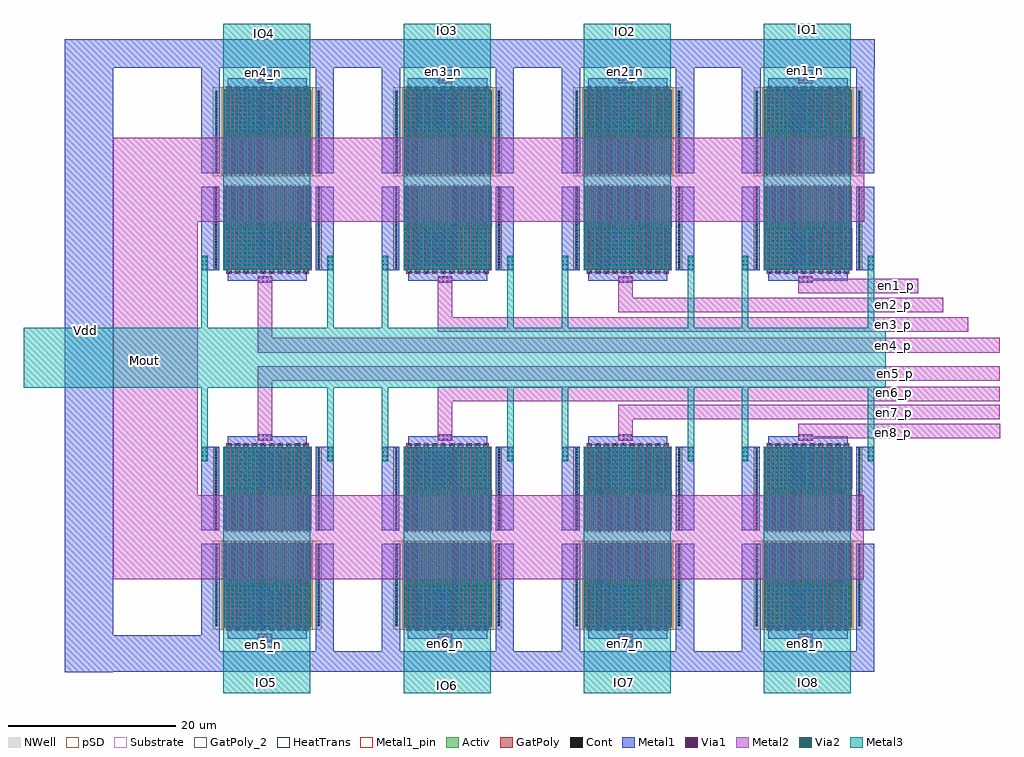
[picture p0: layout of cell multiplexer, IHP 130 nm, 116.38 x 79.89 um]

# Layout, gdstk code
import gdstk
lib = gdstk.Library(unit=1e-6, precision=1e-09)
def R(c, l, rs):  # rectangles x0, y0, x1, y1
    for r in rs: c.add(gdstk.rectangle(r[:2], r[2:], *l))
def A(c, l, x, y, w, h, nx, ny, dx, dy):  # array of equal rectangles
    R(c, l, [(x+i*dx, y+j*dy, x+i*dx+w, y+j*dy+h) for i in range(nx) for j in range(ny)])
Activ = (1, 0)
GatPoly = (5, 0)
GatPoly_2 = (5, 2)
Cont = (6, 0)
Metal1 = (8, 0)
Metal1_pin = (8, 2)
Metal2 = (10, 0)
pSD = (14, 0)
Via1 = (19, 0)
Via2 = (29, 0)
Metal3 = (30, 0)
NWell = (31, 0)
Substrate = (40, 0)
HeatTrans = (51, 0)

nmos = lib.new_cell('nmos')
A(nmos, Activ, 0, 0, 0.3, 0.3, 21, 1, 0.51, 0)
R(nmos, Activ, [(0,0,10.5,10)])
A(nmos, GatPoly, 0.34, -0.18, 0.13, 10.36, 20, 1, 0.51, 0)
R(nmos, GatPoly_2, [(0.34,-0.18,0.47,10.18)])
A(nmos, Cont, 0.07, 0.07, 0.16, 0.16, 21, 4, 0.51, 0.345)
A(nmos, Cont, 0.07, 1.455, 0.16, 0.16, 21, 3, 0.51, 0.345)
A(nmos, Cont, 0.07, 2.495, 0.16, 0.16, 21, 4, 0.51, 0.345)
A(nmos, Cont, 0.07, 3.88, 0.16, 0.16, 21, 3, 0.51, 0.345)
A(nmos, Cont, 0.07, 4.92, 0.16, 0.16, 21, 4, 0.51, 0.345)
A(nmos, Cont, 0.07, 6.305, 0.16, 0.16, 21, 3, 0.51, 0.345)
A(nmos, Cont, 0.07, 7.345, 0.16, 0.16, 21, 4, 0.51, 0.345)
A(nmos, Cont, 0.07, 8.73, 0.16, 0.16, 21, 3, 0.51, 0.345)
A(nmos, Cont, 0.07, 9.77, 0.16, 0.16, 21, 1, 0.51, 0)
A(nmos, Metal1, 0.07, 0, 0.16, 10, 21, 1, 0.51, 0)
R(nmos, Metal1_pin, [(0.07,0,0.23,10), (0.58,0,0.74,10)])
A(nmos, HeatTrans, 0.34, -0.18, 0.13, 10.36, 20, 1, 0.51, 0)
nmos.add(gdstk.Label('nmos', (0.405,5), layer=63, texttype=0))
nmos.add(gdstk.Label('nmos', (0.405,5), layer=51, texttype=0))
nmos.add(gdstk.Label('nmos', (0.915,5), layer=51, texttype=0))
nmos.add(gdstk.Label('nmos', (1.425,5), layer=51, texttype=0))
nmos.add(gdstk.Label('nmos', (1.935,5), layer=51, texttype=0))
nmos.add(gdstk.Label('nmos', (2.445,5), layer=51, texttype=0))
nmos.add(gdstk.Label('nmos', (2.955,5), layer=51, texttype=0))
nmos.add(gdstk.Label('nmos', (3.465,5), layer=51, texttype=0))
nmos.add(gdstk.Label('nmos', (3.975,5), layer=51, texttype=0))
nmos.add(gdstk.Label('nmos', (4.485,5), layer=51, texttype=0))
nmos.add(gdstk.Label('nmos', (4.995,5), layer=51, texttype=0))
nmos.add(gdstk.Label('nmos', (5.505,5), layer=51, texttype=0))
nmos.add(gdstk.Label('nmos', (6.015,5), layer=51, texttype=0))
nmos.add(gdstk.Label('nmos', (6.525,5), layer=51, texttype=0))
nmos.add(gdstk.Label('nmos', (7.035,5), layer=51, texttype=0))
nmos.add(gdstk.Label('nmos', (7.545,5), layer=51, texttype=0))
nmos.add(gdstk.Label('nmos', (8.055,5), layer=51, texttype=0))
nmos.add(gdstk.Label('nmos', (8.565,5), layer=51, texttype=0))
nmos.add(gdstk.Label('nmos', (9.075,5), layer=51, texttype=0))
nmos.add(gdstk.Label('nmos', (9.585,5), layer=51, texttype=0))
nmos.add(gdstk.Label('nmos', (10.095,5), layer=51, texttype=0))

via_stack_2 = lib.new_cell('via_stack$2')
R(via_stack_2, Metal2, [(-5.185,-2.545,5.185,2.545)])
A(via_stack_2, Via2, -5.135, -2.495, 0.19, 0.19, 22, 11, 0.48, 0.48)
R(via_stack_2, Metal3, [(-5.185,-2.545,5.185,2.545)])

pmos = lib.new_cell('pmos')
A(pmos, Activ, 0, 0, 0.3, 0.3, 21, 1, 0.51, 0)
R(pmos, Activ, [(0,0,10.5,10)])
A(pmos, GatPoly, 0.34, -0.18, 0.13, 10.36, 20, 1, 0.51, 0)
R(pmos, GatPoly, [(0.34,-0.18,0.47,10.18)])
A(pmos, Cont, 0.07, 0.07, 0.16, 0.16, 21, 4, 0.51, 0.345)
A(pmos, Cont, 0.07, 1.455, 0.16, 0.16, 21, 3, 0.51, 0.345)
A(pmos, Cont, 0.07, 2.495, 0.16, 0.16, 21, 4, 0.51, 0.345)
A(pmos, Cont, 0.07, 3.88, 0.16, 0.16, 21, 3, 0.51, 0.345)
A(pmos, Cont, 0.07, 4.92, 0.16, 0.16, 21, 4, 0.51, 0.345)
A(pmos, Cont, 0.07, 6.305, 0.16, 0.16, 21, 3, 0.51, 0.345)
A(pmos, Cont, 0.07, 7.345, 0.16, 0.16, 21, 4, 0.51, 0.345)
A(pmos, Cont, 0.07, 8.73, 0.16, 0.16, 21, 3, 0.51, 0.345)
A(pmos, Cont, 0.07, 9.77, 0.16, 0.16, 21, 1, 0.51, 0)
A(pmos, Metal1, 0.58, 0, 0.16, 10, 20, 1, 0.51, 0)
R(pmos, Metal1, [(0.07,0,0.23,10), (0.07,0,0.23,10), (0.58,0,0.74,10)])
R(pmos, pSD, [(-0.18,-0.3,10.68,10.3)])
R(pmos, NWell, [(-0.31,-0.31,10.81,10.31)])
R(pmos, Substrate, [(10.2,0,10.5,0.3)])
A(pmos, HeatTrans, 0.34, -0.18, 0.13, 10.36, 20, 1, 0.51, 0)
pmos.add(gdstk.Label('pmos', (0.405,5), layer=63, texttype=0))
pmos.add(gdstk.Label('pmos', (0.405,5), layer=51, texttype=0))
pmos.add(gdstk.Label('pmos', (0.915,5), layer=51, texttype=0))
pmos.add(gdstk.Label('pmos', (1.425,5), layer=51, texttype=0))
pmos.add(gdstk.Label('pmos', (1.935,5), layer=51, texttype=0))
pmos.add(gdstk.Label('pmos', (2.445,5), layer=51, texttype=0))
pmos.add(gdstk.Label('pmos', (2.955,5), layer=51, texttype=0))
pmos.add(gdstk.Label('pmos', (3.465,5), layer=51, texttype=0))
pmos.add(gdstk.Label('pmos', (3.975,5), layer=51, texttype=0))
pmos.add(gdstk.Label('pmos', (4.485,5), layer=51, texttype=0))
pmos.add(gdstk.Label('pmos', (4.995,5), layer=51, texttype=0))
pmos.add(gdstk.Label('pmos', (5.505,5), layer=51, texttype=0))
pmos.add(gdstk.Label('pmos', (6.015,5), layer=51, texttype=0))
pmos.add(gdstk.Label('pmos', (6.525,5), layer=51, texttype=0))
pmos.add(gdstk.Label('pmos', (7.035,5), layer=51, texttype=0))
pmos.add(gdstk.Label('pmos', (7.545,5), layer=51, texttype=0))
pmos.add(gdstk.Label('pmos', (8.055,5), layer=51, texttype=0))
pmos.add(gdstk.Label('pmos', (8.565,5), layer=51, texttype=0))
pmos.add(gdstk.Label('pmos', (9.075,5), layer=51, texttype=0))
pmos.add(gdstk.Label('pmos', (9.585,5), layer=51, texttype=0))
pmos.add(gdstk.Label('pmos', (10.095,5), layer=51, texttype=0))

via_stack = lib.new_cell('via_stack')
R(via_stack, Metal1, [(-0.385,-0.865,0.385,0.865)])
R(via_stack, Metal2, [(-0.385,-0.865,0.385,0.865)])
A(via_stack, Via1, -0.335, -0.815, 0.19, 0.19, 1, 4, 0, 0.48)
A(via_stack, Via1, 0.145, -0.815, 0.19, 0.19, 1, 4, 0, 0.48)
A(via_stack, Via2, -0.335, -0.815, 0.19, 0.19, 1, 4, 0, 0.48)
A(via_stack, Via2, 0.145, -0.815, 0.19, 0.19, 1, 4, 0, 0.48)
R(via_stack, Metal3, [(-0.385,-0.865,0.385,0.865)])

via_stack_5 = lib.new_cell('via_stack$5')
R(via_stack_5, Metal1, [(-0.865,-0.385,0.865,0.385)])
R(via_stack_5, Metal2, [(-0.865,-0.385,0.865,0.385)])
A(via_stack_5, Via1, -0.815, -0.335, 0.19, 0.19, 4, 2, 0.48, 0.48)

transmission_gate = lib.new_cell('transmission_gate')
R(transmission_gate, Activ, [(-2.08,-11.63,-1.82,-1.81), (10.13,-11.63,10.39,-1.81), (-2.1,-0.2,-1.84,9.68), (10.14,-0.2,10.4,9.68)])
A(transmission_gate, GatPoly, -0.76, -12.195, 0.64, 0.295, 10, 2, 1.02, 22.115)
A(transmission_gate, Cont, -0.52, -12.13, 0.16, 0.16, 10, 2, 1.02, 22.12)
A(transmission_gate, Cont, -2.03, -11.56, 0.16, 0.16, 1, 9, 0, 0.34)
A(transmission_gate, Cont, 10.18, -11.56, 0.16, 0.16, 1, 9, 0, 0.34)
A(transmission_gate, Cont, -2.03, -8.84, 0.16, 0.16, 1, 21, 0, 0.34)
A(transmission_gate, Cont, 10.18, -8.84, 0.16, 0.16, 1, 21, 0, 0.34)
A(transmission_gate, Cont, -2.05, -0.13, 0.16, 0.16, 1, 4, 0, 0.34)
A(transmission_gate, Cont, 10.19, -0.13, 0.16, 0.16, 1, 4, 0, 0.34)
A(transmission_gate, Cont, -2.05, 0.89, 0.16, 0.16, 1, 26, 0, 0.34)
A(transmission_gate, Cont, 10.19, 0.89, 0.16, 0.16, 1, 26, 0, 0.34)
A(transmission_gate, Metal1, -0.57, -12.285, 0.26, 0.345, 10, 2, 1.02, 22.245)
A(transmission_gate, Metal1, -0.545, -11.41, 0.21, 4.135, 10, 2, 1.02, 16.4)
A(transmission_gate, Metal1, -1.055, -5.83, 0.21, 4.135, 11, 2, 1.02, 5.57)
R(transmission_gate, Metal1, [(-3.715,-15.08,-1.505,-1.82), (9.89,-14.69,12.06,-1.82), (-0.575,-13.115,8.87,-11.94), (-3.715,-0.21,-1.59,9.785), (9.885,-0.2,12.06,9.775), (-0.57,9.955,8.87,11.045)])
R(transmission_gate, Metal2, [(3.005,-14.155,4.735,-12.51), (-1.1,-11.805,9.32,-6.71), (-14.24,-6.01,10.75,3.99), (-1.105,4.69,9.41,9.785), (3.005,10.845,4.735,12.49)])
R(transmission_gate, pSD, [(-2.33,-0.26,-1.61,9.74), (9.91,-0.26,10.63,9.74)])
A(transmission_gate, Via1, -0.535, -11.35, 0.19, 0.19, 10, 10, 1.02, 0.41)
A(transmission_gate, Via1, -1.045, -5.77, 0.19, 0.19, 11, 10, 1.02, 0.41)
A(transmission_gate, Via1, -1.045, -0.2, 0.19, 0.19, 11, 10, 1.02, 0.41)
A(transmission_gate, Via1, -0.535, 5.05, 0.19, 0.19, 10, 10, 1.02, 0.41)
R(transmission_gate, Metal3, [(-1.1,-11.72,9.28,9.78), (-3.715,9.405,-2.945,19.485), (11.29,9.405,12.06,19.46)])
R(transmission_gate, NWell, [(-2.34,-12.03,-1.375,-1.41), (9.68,-12.03,10.63,-1.41)])
transmission_gate.add(gdstk.Reference(nmos, (-1.1,-0.26)))
transmission_gate.add(gdstk.Reference(via_stack_2, (4.085,-9.26)))
transmission_gate.add(gdstk.Reference(pmos, (-1.1,-11.72)))
transmission_gate.add(gdstk.Reference(via_stack_2, (4.085,7.235)))
r = gdstk.Reference(via_stack, (-3.33,8.91)); r.repetition = gdstk.Repetition(2, 1, v1=(15.005,0), v2=(0,0)); transmission_gate.add(r)
r = gdstk.Reference(via_stack_5, (3.87,-13.13)); r.repetition = gdstk.Repetition(1, 2, v1=(0,0), v2=(0,24)); transmission_gate.add(r)
transmission_gate.add(gdstk.Label('vss', (9.97,9.49), layer=8, texttype=25))
transmission_gate.add(gdstk.Label('vss', (-2,9.395), layer=8, texttype=25))
transmission_gate.add(gdstk.Label('vdd', (-1.795,-11.555), layer=8, texttype=25))
transmission_gate.add(gdstk.Label('vdd', (10.095,-11.41), layer=8, texttype=25))

multiplexer = lib.new_cell('multiplexer')
R(multiplexer, Metal1, [(-21.785,-28.07,-16,47.41), (-5.49,-28.015,74.76,-25.54), (-21.785,-27.995,-5.385,-23.64), (-21.785,44.015,74.82,47.41)])
R(multiplexer, Metal2, [(-5.9,-16.94,73.515,-6.94), (-16,-6.94,-5.89,25.67), (65.7,-0.17,89.745,1.56), (1.245,1.241,2.975,7.835), (22.73,1.241,24.46,5.68), (44.215,1.241,45.945,2.295), (44.215,2.1,89.74,3.83), (22.73,4.275,89.735,6.005), (1.25,6.74,89.73,8.47), (1.245,10.08,89.73,11.81), (1.245,11.805,2.975,17.669), (22.73,12.545,85.945,14.275), (22.73,14.275,24.46,17.669), (44.215,14.885,82.955,16.615), (44.215,16.615,45.945,17.669), (65.7,17.17,79.98,18.9), (-6.855,25.67,73.57,35.67)])
A(multiplexer, Metal3, -2.86, -30.58, 10.38, 7.93, 4, 2, 21.485, 71.96)
R(multiplexer, Metal3, [(-26.635,5.89,76.13,13.02)])
r = gdstk.Reference(transmission_gate, (-1.76,-10.93)); r.repetition = gdstk.Repetition(4, 1, v1=(21.485,0), v2=(0,0)); multiplexer.add(r)
r = gdstk.Reference(transmission_gate, (-1.76,29.66), x_reflection=True); r.repetition = gdstk.Repetition(4, 1, v1=(21.485,0), v2=(0,0)); multiplexer.add(r)
multiplexer.add(gdstk.Label('Vdd', (-19.29,12.685), layer=8, texttype=25))
multiplexer.add(gdstk.Label('en1_n', (66.51,43.675), layer=10, texttype=25))
multiplexer.add(gdstk.Label('en2_n', (45.04,43.605), layer=10, texttype=25))
multiplexer.add(gdstk.Label('en3_n', (23.365,43.575), layer=10, texttype=25))
multiplexer.add(gdstk.Label('en4_n', (1.965,43.44), layer=10, texttype=25))
multiplexer.add(gdstk.Label('en1_p', (77.345,18.1), layer=10, texttype=25))
multiplexer.add(gdstk.Label('en2_p', (77.09,15.795), layer=10, texttype=25))
multiplexer.add(gdstk.Label('en3_p', (77.09,13.405), layer=10, texttype=25))
multiplexer.add(gdstk.Label('en4_p', (77.09,10.93), layer=10, texttype=25))
multiplexer.add(gdstk.Label('en8_n', (66.525,-24.675), layer=10, texttype=25))
multiplexer.add(gdstk.Label('en7_n', (45.125,-24.62), layer=10, texttype=25))
multiplexer.add(gdstk.Label('en6_n', (23.585,-24.645), layer=10, texttype=25))
multiplexer.add(gdstk.Label('en5_n', (1.96,-24.76), layer=10, texttype=25))
multiplexer.add(gdstk.Label('en8_p', (77.005,0.6), layer=10, texttype=25))
multiplexer.add(gdstk.Label('en7_p', (77.175,2.905), layer=10, texttype=25))
multiplexer.add(gdstk.Label('en6_p', (77.175,5.295), layer=10, texttype=25))
multiplexer.add(gdstk.Label('en5_p', (77.26,7.6), layer=10, texttype=25))
multiplexer.add(gdstk.Label('Mout', (-12.245,9.185), layer=10, texttype=25))
multiplexer.add(gdstk.Label('IO1', (66.955,48.61), layer=30, texttype=25))
multiplexer.add(gdstk.Label('IO2', (45.095,48.355), layer=30, texttype=25))
multiplexer.add(gdstk.Label('IO3', (23.905,48.48), layer=30, texttype=25))
multiplexer.add(gdstk.Label('IO4', (2.005,48.15), layer=30, texttype=25))
multiplexer.add(gdstk.Label('IO5', (2.3,-29.31), layer=30, texttype=25))
multiplexer.add(gdstk.Label('IO6', (23.825,-29.57), layer=30, texttype=25))
multiplexer.add(gdstk.Label('IO7', (44.93,-29.255), layer=30, texttype=25))
multiplexer.add(gdstk.Label('IO8', (66.87,-29.255), layer=30, texttype=25))
multiplexer.add(gdstk.Label('Vss', (74.925,9.29), layer=30, texttype=25))

lib.write_gds('multiplexer.gds')
